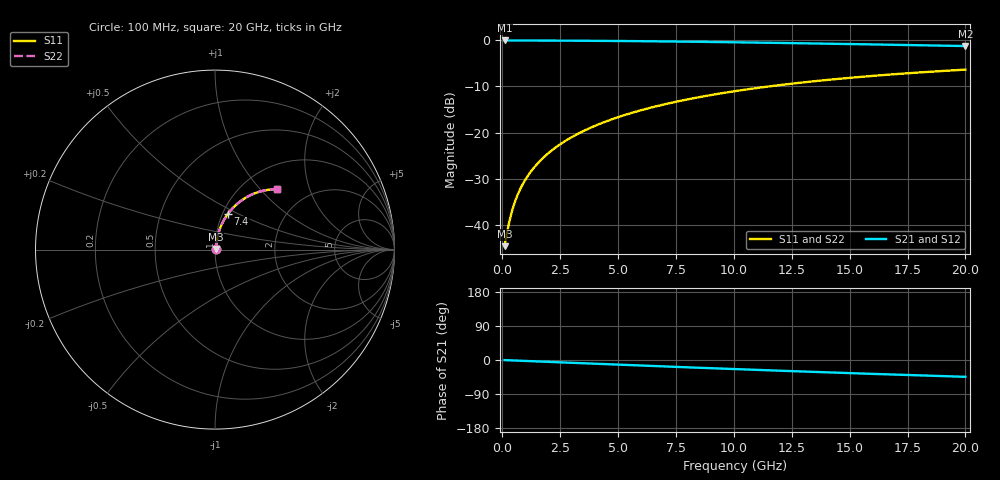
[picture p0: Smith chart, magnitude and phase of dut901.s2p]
! Touchstone file exported from HFSS 2026.1.0
!  File:  C:/ffzhzh/LocalFiles/Ansys_Project_Files/temp_train_TMRDL_901_1783157814_55132.aedt
!  Generated:  05:38:13 PM Jul  4, 2026
!  Design:  TMRDL
!  Project:  temp_train_TMRDL_901_1783157814_55132
! Variables:
!  h_bsmrdl = 2um
!  h_ox = 20um
!  h_rdl = 5um
!  h_sub = 80um
!  h_tmrdl = 2.25um
!  h_tsv = 80um
!  h_via = 3um
!  l_bsmrdl = 300um
!  l_sub = 977.01um
!  l_tmrdl = 577.01um
!  m_sub = 200um
!  pitch = 57.29um
!  r_tsv = 6um
!  s_tmrdl = 10um
!  w_bsmrdl = 18um
!  w_sub = 500um
!  w_tmrdl = 19.06um
!  x_tsv_center1 = 586.54um
!  x_tsv_center2 = 904.54um
!  x_tsv_center3 = 1500.61um
!  x_tsv_center4 = 1818.61um
!  x_tsv_center5 = 2414.68um
!  x_tsv_center6 = 2732.68um
# GHz S MA R 50.000000
! Terminal data exported
! Port[1] = TM_RDL1_1_T1
! Port[2] = TM_RDL1_1_T2
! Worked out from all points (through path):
!   200 points, 100 MHz to 20 GHz, reference 50 ohm
!   highest |S21| = -0.04 dB at 100 MHz (marker M1); lowest = -1.3 dB at 20 GHz (marker M2)
!   group delay of S21, straight-line fit = 6.18 ps
!   lowest |S11| = -44.5 dB at 100 MHz (marker M3), VSWR 1.01, Z = 50.5 + j0.321 ohm
!   |S11| at or under -10 dB: start of sweep to 11.49 GHz
!   |S22| runs from -44.5 to -6.4 dB; largest |S21 - S12| = 3.7e-15
!   S11 on the Smith chart (normalised r, x): 100 MHz: 1.01, +0.01; 7.4 GHz: 1.06, +0.45; 20 GHz: 1.41, +1.24
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0.1  0.005936 32.4  0.995 -0.3  0.995 -0.3  0.005936 32.4
! Gamma 0 0 0 0
! Port Impedance 50 0 50 0
0.2  0.008153 50.9  0.9949 -0.5  0.9949 -0.5  0.008153 50.9
0.3  0.01084 60.6  0.9948 -0.8  0.9948 -0.8  0.01084 60.6
0.4  0.01369 66.1  0.9946 -1.0  0.9946 -1.0  0.01369 66.1
0.5  0.01659 69.5  0.9944 -1.3  0.9944 -1.3  0.01659 69.5
0.6  0.01951 71.8  0.9942 -1.5  0.9942 -1.5  0.01951 71.8
0.8  0.02534 74.7  0.9939 -2.0  0.9939 -2.0  0.02534 74.7
1.1  0.03409 77.0  0.9934 -2.8  0.9934 -2.8  0.03409 77.0
1.3  0.03994 77.9  0.9931 -3.2  0.9931 -3.2  0.03994 77.9
1.6  0.04872 78.6  0.9926 -4.0  0.9926 -4.0  0.04872 78.6
2.1  0.06338 79.0  0.9916 -5.2  0.9916 -5.2  0.06338 79.0
2.7  0.08095 78.7  0.9902 -6.7  0.9902 -6.7  0.08095 78.7
3.5  0.1043 77.7  0.9879 -8.6  0.9879 -8.6  0.1043 77.7
4.2  0.1245 76.5  0.9854 -10.3  0.9854 -10.3  0.1245 76.5
5  0.1473 75.0  0.9821 -12.2  0.9821 -12.2  0.1473 75.0
6.8  0.1974 71.3  0.9728 -16.5  0.9728 -16.5  0.1974 71.3
7.4  0.2136 70.0  0.9693 -17.9  0.9693 -17.9  0.2136 70.0
8.7  0.2477 67.2  0.9608 -20.9  0.9608 -20.9  0.2477 67.2
10.1  0.2829 64.1  0.9507 -24.1  0.9507 -24.1  0.2829 64.2
13.4  0.3591 57.2  0.9239 -31.3  0.9239 -31.3  0.3591 57.2
16.7  0.4251 50.6  0.895 -38.0  0.895 -38.0  0.4251 50.6
20  0.4812 44.4  0.8659 -44.3  0.8659 -44.3  0.4812 44.4
